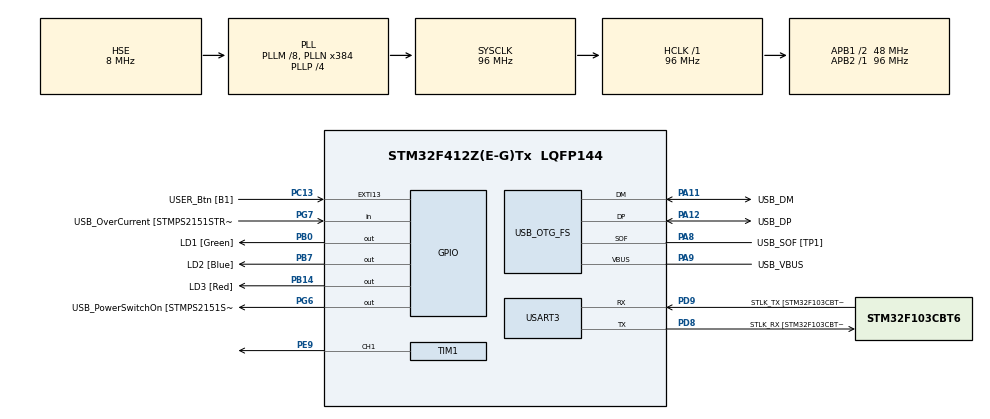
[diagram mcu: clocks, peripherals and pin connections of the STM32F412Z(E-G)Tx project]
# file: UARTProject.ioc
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Mcu.Family=STM32F4
Mcu.Name=STM32F412Z(E-G)Tx
Mcu.Package=LQFP144
NVIC.PriorityGroup=NVIC_PRIORITYGROUP_4
NVIC.USART3_IRQn=true\:0\:0\:false\:false\:true\:true\:true\:true
PA10.GPIO_Label=USB_ID
PA10.Signal=USB_OTG_FS_ID
PA11.GPIO_Label=USB_DM
PA11.Mode=Device_Only
PA11.Signal=USB_OTG_FS_DM
PA12.GPIO_Label=USB_DP
PA12.Mode=Device_Only
PA12.Signal=USB_OTG_FS_DP
PA13.GPIO_Label=TMS
PA13.Mode=Serial_Wire
PA13.Signal=SYS_JTMS-SWDIO
PA14.GPIO_Label=TCK
PA14.Mode=Serial_Wire
PA14.Signal=SYS_JTCK-SWCLK
PA8.GPIO_Label=USB_SOF [TP1]
PA8.Mode=Activate_SOF_FS
PA8.Signal=USB_OTG_FS_SOF
PA9.GPIO_Label=USB_VBUS
PA9.Mode=Activate_VBUS
PA9.Signal=USB_OTG_FS_VBUS
PB0.GPIO_Label=LD1 [Green]
PB0.Signal=GPIO_Output
PB14.GPIO_Label=LD3 [Red]
PB14.Signal=GPIO_Output
PB3.GPIO_Label=SWO
PB3.Signal=SYS_JTDO-SWO
PB7.GPIO_Label=LD2 [Blue]
PB7.Signal=GPIO_Output
PC13.GPIO_Label=USER_Btn [B1]
PC13.Signal=GPXTI13
PC14-OSC32_IN.Mode=LSE-External-Oscillator
PC14-OSC32_IN.Signal=RCC_OSC32_IN
PC15-OSC32_OUT.Mode=LSE-External-Oscillator
PC15-OSC32_OUT.Signal=RCC_OSC32_OUT
PD8.GPIO_Label=STLK_RX [STM32F103CBT6_PA3]
PD8.Mode=Asynchronous
PD8.Signal=USART3_TX
PD9.GPIO_Label=STLK_TX [STM32F103CBT6_PA2]
PD9.Mode=Asynchronous
PD9.Signal=USART3_RX
PE9.Signal=S_TIM1_CH1
PG6.GPIO_Label=USB_PowerSwitchOn [STMPS2151STR_EN]
PG6.Signal=GPIO_Output
PG7.GPIO_Label=USB_OverCurrent [STMPS2151STR_FAULT]
PG7.Signal=GPIO_Input
PH0\ -\ OSC_IN.GPIO_Label=MCO
PH0\ -\ OSC_IN.Mode=HSE-External-Clock-Source
PH0\ -\ OSC_IN.Signal=RCC_OSC_IN
PH1\ -\ OSC_OUT.Mode=HSE-External-Clock-Source
PH1\ -\ OSC_OUT.Signal=RCC_OSC_OUT
ProjectManager.HeapSize=0x200
ProjectManager.StackSize=0x400
ProjectManager.TargetToolchain=STM32CubeIDE
RCC.48MHZClocksFreq_Value=24000000
RCC.AHBFreq_Value=96000000
RCC.APB1CLKDivider=RCC_HCLK_DIV2
RCC.APB1Freq_Value=48000000
RCC.APB1TimFreq_Value=96000000
RCC.APB2Freq_Value=96000000
RCC.APB2TimFreq_Value=96000000
RCC.CortexFreq_Value=96000000
RCC.HCLKFreq_Value=96000000
RCC.HSE_VALUE=8000000
RCC.HSI_VALUE=16000000
RCC.PLLM=8
RCC.PLLMUL=RCC_PLL_MUL9
RCC.PLLN=384
RCC.PLLP=RCC_PLLP_DIV4
RCC.PLLQ=8
RCC.PRESCALERUSB=RCC_USBCLKSOURCE_PLL_DIV1_5
RCC.SYSCLKFreq_VALUE=96000000
RCC.SYSCLKSource=RCC_SYSCLKSOURCE_PLLCLK
RCC.SYSCLKSourceVirtual=RCC_SYSCLKSOURCE_PLLCLK
RCC.USBFreq_Value=48000000
RCC.VCOOutputFreq_Value=384000000
SH.S_TIM1_CH1.0=TIM1_CH1,PWM Generation1 CH1
TIM1.Channel-PWM\ Generation1\ CH1=TIM_CHANNEL_1
USART3.VirtualMode=VM_ASYNC
USB_OTG_FS.VirtualMode=Device_Only
VP_RNG_VS_RNG.Mode=RNG_Activate
VP_TIM1_VS_ClockSourceINT.Mode=Internal
VP_TIM1_VS_ClockSourceITR.Mode=TriggerSource_ITR0
VP_TIM1_VS_ControllerModeReset.Mode=Reset Mode
board=NUCLEO-F412ZG

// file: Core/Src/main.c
/* USER CODE BEGIN Header */
/**
  ******************************************************************************
  * @file           : main.c
  * @brief          : Main program body
  ******************************************************************************
  * @attention
  *
  * Copyright (c) 2025 STMicroelectronics.
  * All rights reserved.
  *
  * This software is licensed under terms that can be found in the LICENSE file
  * in the root directory of this software component.
  * If no LICENSE file comes with this software, it is provided AS-IS.
  *
  ******************************************************************************
  */
/* USER CODE END Header */
#include "main.h"

RNG_HandleTypeDef hrng;

TIM_HandleTypeDef htim1;

UART_HandleTypeDef huart3;

PCD_HandleTypeDef hpcd_USB_OTG_FS;

/* USER CODE BEGIN PV */
volatile char buf[BUFFER_SIZE];

uint32_t counter;
int time_since_change;
int current_time;
int MODE;
/* USER CODE END PV */

void SystemClock_Config(void);
static void MX_GPIO_Init(void);
static void MX_RNG_Init(void);
static void MX_USART3_UART_Init(void);
static void MX_USB_OTG_FS_PCD_Init(void);
static void MX_TIM1_Init(void);

/* USER CODE BEGIN 0 */
void PARTY_TICK(int timeDelta)
{
	if (timeDelta>250)
	{
		HAL_RNG_GenerateRandomNumber(&hrng,&counter);
		time_since_change=HAL_GetTick();
	}
	return;
}
void COUNTING_TICK(int timeDelta)
{
	if (timeDelta>1000)
	{
		if (MODE==COUNTING_MODE) counter++;
		else counter--;
		time_since_change=HAL_GetTick();
		sprintf(&buf,"Counter is %lu\n",counter);
}
	return;
}

void WAVE_TICK(int timeDelta)
{
	if (timeDelta>250)
	{
		switch(counter%8)
		{
		case 1:
			counter++;
			break;
		case 2:
			counter=4;
			break;
		case 4:
			counter=1;
			break;
		default:
			counter=1;
			break;

		}
	time_since_change=HAL_GetTick();
	}
}

void INVERT_TICK(int timeDelta)
{
	if (timeDelta>250)
	{
	counter=~counter;
	time_since_change=HAL_GetTick();
	}
}
void IDLE_CHECK(int timeDelta)
{
	if (timeDelta>300000)
	{
		time_since_change=HAL_GetTick();
		sprintf(&buf,"Hello?\n");
	}
}
void SINE_WAVE_TICK(int timeDelta)
{
	if (timeDelta>10000)
		{
			time_since_change=HAL_GetTick();
			sprintf(&buf,"It's not done yet!!!\n");
		}
}

void UI_CHANGE()
{
	HAL_UART_Transmit(&huart3,&buf,strlen(&buf),5);
	if (MODE!=MAIN_MODE) switch(counter%8)
	{
	case 0:
		HAL_GPIO_WritePin(LD1_GPIO_Port,LD1_Pin,GPIO_PIN_RESET);
		HAL_GPIO_WritePin(LD2_GPIO_Port,LD2_Pin,GPIO_PIN_RESET);
		HAL_GPIO_WritePin(LD3_GPIO_Port,LD3_Pin,GPIO_PIN_RESET);
		break;
	case 1:
		HAL_GPIO_WritePin(LD1_GPIO_Port,LD1_Pin,GPIO_PIN_SET);
		HAL_GPIO_WritePin(LD2_GPIO_Port,LD2_Pin,GPIO_PIN_RESET);
		HAL_GPIO_WritePin(LD3_GPIO_Port,LD3_Pin,GPIO_PIN_RESET);
		break;
	case 2:
		HAL_GPIO_WritePin(LD1_GPIO_Port,LD1_Pin,GPIO_PIN_RESET);
		HAL_GPIO_WritePin(LD2_GPIO_Port,LD2_Pin,GPIO_PIN_SET);
		HAL_GPIO_WritePin(LD3_GPIO_Port,LD3_Pin,GPIO_PIN_RESET);
		break;
	case 3:
		HAL_GPIO_WritePin(LD1_GPIO_Port,LD1_Pin,GPIO_PIN_SET);
		HAL_GPIO_WritePin(LD2_GPIO_Port,LD2_Pin,GPIO_PIN_SET);
		HAL_GPIO_WritePin(LD3_GPIO_Port,LD3_Pin,GPIO_PIN_RESET);
		break;
	case 4:
		HAL_GPIO_WritePin(LD1_GPIO_Port,LD1_Pin,GPIO_PIN_RESET);
		HAL_GPIO_WritePin(LD2_GPIO_Port,LD2_Pin,GPIO_PIN_RESET);
		HAL_GPIO_WritePin(LD3_GPIO_Port,LD3_Pin,GPIO_PIN_SET);
		break;
	case 5:
		HAL_GPIO_WritePin(LD1_GPIO_Port,LD1_Pin,GPIO_PIN_SET);
		HAL_GPIO_WritePin(LD2_GPIO_Port,LD2_Pin,GPIO_PIN_RESET);
		HAL_GPIO_WritePin(LD3_GPIO_Port,LD3_Pin,GPIO_PIN_SET);
		break;
	case 6:
		HAL_GPIO_WritePin(LD1_GPIO_Port,LD1_Pin,GPIO_PIN_RESET);
		HAL_GPIO_WritePin(LD2_GPIO_Port,LD2_Pin,GPIO_PIN_SET);
		HAL_GPIO_WritePin(LD3_GPIO_Port,LD3_Pin,GPIO_PIN_SET);
		break;
	case 7:
		HAL_GPIO_WritePin(LD1_GPIO_Port,LD1_Pin,GPIO_PIN_SET);
		HAL_GPIO_WritePin(LD2_GPIO_Port,LD2_Pin,GPIO_PIN_SET);
		HAL_GPIO_WritePin(LD3_GPIO_Port,LD3_Pin,GPIO_PIN_SET);
		break;
	}
}
/* USER CODE END 0 */

int main(void)
{

  /* MCU Configuration--------------------------------------------------------*/

  /* Reset of all peripherals, Initializes the Flash interface and the Systick. */
  HAL_Init();

  /* Configure the system clock */
  SystemClock_Config();

  /* Initialize all configured peripherals */
  MX_GPIO_Init();
  MX_RNG_Init();
  MX_USART3_UART_Init();
  MX_USB_OTG_FS_PCD_Init();
  MX_TIM1_Init();
  /* USER CODE BEGIN 2 */
  MODE=0;
  counter=0;

  /* USER CODE END 2 */

  /* Infinite loop */
  while (1)
  {

    /* USER CODE BEGIN 3 */
	  current_time=HAL_GetTick();
	  int timedelta=current_time-time_since_change;
	  HAL_UART_Receive(&huart3,&buf,BUFFER_SIZE,1);
	  if (strlen(buf)>0)
	  {

		time_since_change=HAL_GetTick();
	  	execute_command(&buf,&huart3,&hrng,&MODE);
	  }
	  memset(buf,0,BUFFER_SIZE);

	  switch(MODE)
	  {
	  case PARTY_MODE:
		  PARTY_TICK(timedelta);
	  		break;
	  case COUNTING_MODE:
		  COUNTING_TICK(timedelta);
	  		break;
	  case COUNTING_DOWN_MODE:
		  COUNTING_TICK(timedelta);
		  break;
	  case WAVE_MODE:
		  WAVE_TICK(timedelta);
		  break;
	  case INVERT_MODE:
		  INVERT_TICK(timedelta);
		  break;
	  case SINE_WAVE_MODE:
		  SINE_WAVE_TICK(timedelta);
	  	  break;
	  case MAIN_MODE:
		  IDLE_CHECK(timedelta);
		  break;
	  }
	  UI_CHANGE();
	  memset(buf,0,BUFFER_SIZE);

  }
  /* USER CODE END 3 */
}

void SystemClock_Config(void)
{
  RCC_OscInitTypeDef RCC_OscInitStruct = {0};
  RCC_ClkInitTypeDef RCC_ClkInitStruct = {0};

  /** Configure the main internal regulator output voltage
  */
  __HAL_RCC_PWR_CLK_ENABLE();
  __HAL_PWR_VOLTAGESCALING_CONFIG(PWR_REGULATOR_VOLTAGE_SCALE1);

  /** Initializes the RCC Oscillators according to the specified parameters
  * in the RCC_OscInitTypeDef structure.
  */
  RCC_OscInitStruct.OscillatorType = RCC_OSCILLATORTYPE_HSE;
  RCC_OscInitStruct.HSEState = RCC_HSE_BYPASS;
  RCC_OscInitStruct.PLL.PLLState = RCC_PLL_ON;
  RCC_OscInitStruct.PLL.PLLSource = RCC_PLLSOURCE_HSE;
  RCC_OscInitStruct.PLL.PLLM = 8;
  RCC_OscInitStruct.PLL.PLLN = 384;
  RCC_OscInitStruct.PLL.PLLP = RCC_PLLP_DIV4;
  RCC_OscInitStruct.PLL.PLLQ = 8;
  RCC_OscInitStruct.PLL.PLLR = 2;
  if (HAL_RCC_OscConfig(&RCC_OscInitStruct) != HAL_OK)
  {
    Error_Handler();
  }

  /** Initializes the CPU, AHB and APB buses clocks
  */
  RCC_ClkInitStruct.ClockType = RCC_CLOCKTYPE_HCLK|RCC_CLOCKTYPE_SYSCLK
                              |RCC_CLOCKTYPE_PCLK1|RCC_CLOCKTYPE_PCLK2;
  RCC_ClkInitStruct.SYSCLKSource = RCC_SYSCLKSOURCE_PLLCLK;
  RCC_ClkInitStruct.AHBCLKDivider = RCC_SYSCLK_DIV1;
  RCC_ClkInitStruct.APB1CLKDivider = RCC_HCLK_DIV2;
  RCC_ClkInitStruct.APB2CLKDivider = RCC_HCLK_DIV1;

  if (HAL_RCC_ClockConfig(&RCC_ClkInitStruct, FLASH_LATENCY_3) != HAL_OK)
  {
    Error_Handler();
  }
}

static void MX_RNG_Init(void)
{

  hrng.Instance = RNG;
  if (HAL_RNG_Init(&hrng) != HAL_OK)
  {
    Error_Handler();
  }

}

static void MX_TIM1_Init(void)
{

  TIM_ClockConfigTypeDef sClockSourceConfig = {0};
  TIM_SlaveConfigTypeDef sSlaveConfig = {0};
  TIM_MasterConfigTypeDef sMasterConfig = {0};
  TIM_OC_InitTypeDef sConfigOC = {0};
  TIM_BreakDeadTimeConfigTypeDef sBreakDeadTimeConfig = {0};

  htim1.Instance = TIM1;
  htim1.Init.Prescaler = 0;
  htim1.Init.CounterMode = TIM_COUNTERMODE_UP;
  htim1.Init.Period = 65535;
  htim1.Init.ClockDivision = TIM_CLOCKDIVISION_DIV1;
  htim1.Init.RepetitionCounter = 0;
  htim1.Init.AutoReloadPreload = TIM_AUTORELOAD_PRELOAD_DISABLE;
  if (HAL_TIM_Base_Init(&htim1) != HAL_OK)
  {
    Error_Handler();
  }
  sClockSourceConfig.ClockSource = TIM_CLOCKSOURCE_INTERNAL;
  if (HAL_TIM_ConfigClockSource(&htim1, &sClockSourceConfig) != HAL_OK)
  {
    Error_Handler();
  }
  if (HAL_TIM_PWM_Init(&htim1) != HAL_OK)
  {
    Error_Handler();
  }
  sSlaveConfig.SlaveMode = TIM_SLAVEMODE_RESET;
  sSlaveConfig.InputTrigger = TIM_TS_ITR0;
  if (HAL_TIM_SlaveConfigSynchro(&htim1, &sSlaveConfig) != HAL_OK)
  {
    Error_Handler();
  }
  sMasterConfig.MasterOutputTrigger = TIM_TRGO_RESET;
  sMasterConfig.MasterSlaveMode = TIM_MASTERSLAVEMODE_DISABLE;
  if (HAL_TIMEx_MasterConfigSynchronization(&htim1, &sMasterConfig) != HAL_OK)
  {
    Error_Handler();
  }
  sConfigOC.OCMode = TIM_OCMODE_PWM1;
  sConfigOC.Pulse = 0;
  sConfigOC.OCPolarity = TIM_OCPOLARITY_HIGH;
  sConfigOC.OCNPolarity = TIM_OCNPOLARITY_HIGH;
  sConfigOC.OCFastMode = TIM_OCFAST_DISABLE;
  sConfigOC.OCIdleState = TIM_OCIDLESTATE_RESET;
  sConfigOC.OCNIdleState = TIM_OCNIDLESTATE_RESET;
  if (HAL_TIM_PWM_ConfigChannel(&htim1, &sConfigOC, TIM_CHANNEL_1) != HAL_OK)
  {
    Error_Handler();
  }
  sBreakDeadTimeConfig.OffStateRunMode = TIM_OSSR_DISABLE;
  sBreakDeadTimeConfig.OffStateIDLEMode = TIM_OSSI_DISABLE;
  sBreakDeadTimeConfig.LockLevel = TIM_LOCKLEVEL_OFF;
  sBreakDeadTimeConfig.DeadTime = 0;
  sBreakDeadTimeConfig.BreakState = TIM_BREAK_DISABLE;
  sBreakDeadTimeConfig.BreakPolarity = TIM_BREAKPOLARITY_HIGH;
  sBreakDeadTimeConfig.AutomaticOutput = TIM_AUTOMATICOUTPUT_DISABLE;
  if (HAL_TIMEx_ConfigBreakDeadTime(&htim1, &sBreakDeadTimeConfig) != HAL_OK)
  {
    Error_Handler();
  }
  HAL_TIM_MspPostInit(&htim1);

}

static void MX_USART3_UART_Init(void)
{

  huart3.Instance = USART3;
  huart3.Init.BaudRate = 115200;
  huart3.Init.WordLength = UART_WORDLENGTH_8B;
  huart3.Init.StopBits = UART_STOPBITS_1;
  huart3.Init.Parity = UART_PARITY_NONE;
  huart3.Init.Mode = UART_MODE_TX_RX;
  huart3.Init.HwFlowCtl = UART_HWCONTROL_NONE;
  huart3.Init.OverSampling = UART_OVERSAMPLING_16;
  if (HAL_UART_Init(&huart3) != HAL_OK)
  {
    Error_Handler();
  }

}

static void MX_USB_OTG_FS_PCD_Init(void)
{

  hpcd_USB_OTG_FS.Instance = USB_OTG_FS;
  hpcd_USB_OTG_FS.Init.dev_endpoints = 6;
  hpcd_USB_OTG_FS.Init.speed = PCD_SPEED_FULL;
  hpcd_USB_OTG_FS.Init.dma_enable = DISABLE;
  hpcd_USB_OTG_FS.Init.phy_itface = PCD_PHY_EMBEDDED;
  hpcd_USB_OTG_FS.Init.Sof_enable = ENABLE;
  hpcd_USB_OTG_FS.Init.low_power_enable = DISABLE;
  hpcd_USB_OTG_FS.Init.lpm_enable = DISABLE;
  hpcd_USB_OTG_FS.Init.battery_charging_enable = ENABLE;
  hpcd_USB_OTG_FS.Init.vbus_sensing_enable = ENABLE;
  hpcd_USB_OTG_FS.Init.use_dedicated_ep1 = DISABLE;
  if (HAL_PCD_Init(&hpcd_USB_OTG_FS) != HAL_OK)
  {
    Error_Handler();
  }

}

static void MX_GPIO_Init(void)
{
  GPIO_InitTypeDef GPIO_InitStruct = {0};

  /* GPIO Ports Clock Enable */
  __HAL_RCC_GPIOC_CLK_ENABLE();
  __HAL_RCC_GPIOH_CLK_ENABLE();
  __HAL_RCC_GPIOB_CLK_ENABLE();
  __HAL_RCC_GPIOE_CLK_ENABLE();
  __HAL_RCC_GPIOD_CLK_ENABLE();
  __HAL_RCC_GPIOG_CLK_ENABLE();
  __HAL_RCC_GPIOA_CLK_ENABLE();

  /*Configure GPIO pin Output Level */
  HAL_GPIO_WritePin(GPIOB, LD1_Pin|LD3_Pin|LD2_Pin, GPIO_PIN_RESET);

  /*Configure GPIO pin Output Level */
  HAL_GPIO_WritePin(USB_PowerSwitchOn_GPIO_Port, USB_PowerSwitchOn_Pin, GPIO_PIN_RESET);

  /*Configure GPIO pin : USER_Btn_Pin */
  GPIO_InitStruct.Pin = USER_Btn_Pin;
  GPIO_InitStruct.Mode = GPIO_MODE_IT_RISING;
  GPIO_InitStruct.Pull = GPIO_NOPULL;
  HAL_GPIO_Init(USER_Btn_GPIO_Port, &GPIO_InitStruct);

  /*Configure GPIO pins : LD1_Pin LD3_Pin LD2_Pin */
  GPIO_InitStruct.Pin = LD1_Pin|LD3_Pin|LD2_Pin;
  GPIO_InitStruct.Mode = GPIO_MODE_OUTPUT_PP;
  GPIO_InitStruct.Pull = GPIO_NOPULL;
  GPIO_InitStruct.Speed = GPIO_SPEED_FREQ_LOW;
  HAL_GPIO_Init(GPIOB, &GPIO_InitStruct);

  /*Configure GPIO pin : USB_PowerSwitchOn_Pin */
  GPIO_InitStruct.Pin = USB_PowerSwitchOn_Pin;
  GPIO_InitStruct.Mode = GPIO_MODE_OUTPUT_PP;
  GPIO_InitStruct.Pull = GPIO_NOPULL;
  GPIO_InitStruct.Speed = GPIO_SPEED_FREQ_LOW;
  HAL_GPIO_Init(USB_PowerSwitchOn_GPIO_Port, &GPIO_InitStruct);

  /*Configure GPIO pin : USB_OverCurrent_Pin */
  GPIO_InitStruct.Pin = USB_OverCurrent_Pin;
  GPIO_InitStruct.Mode = GPIO_MODE_INPUT;
  GPIO_InitStruct.Pull = GPIO_NOPULL;
  HAL_GPIO_Init(USB_OverCurrent_GPIO_Port, &GPIO_InitStruct);

}

/* USER CODE BEGIN 4 */
void HAL_GPIO_EXTI_Callback (uint16_t GPIO_Pin)
{
	sprintf(&buf,"Button Pressed %i\n",GPIO_Pin);
	counter=8;
	HAL_GPIO_WritePin(LD1_GPIO_Port,LD1_Pin,GPIO_PIN_SET);
	HAL_GPIO_WritePin(LD2_GPIO_Port,LD2_Pin,GPIO_PIN_SET);
	HAL_GPIO_WritePin(LD3_GPIO_Port,LD3_Pin,GPIO_PIN_SET);
	HAL_UART_Transmit(&huart3,&buf,strlen(&buf),5);
}
/* USER CODE END 4 */

void Error_Handler(void)
{
  __disable_irq();
  while (1)
  {
  }
}
